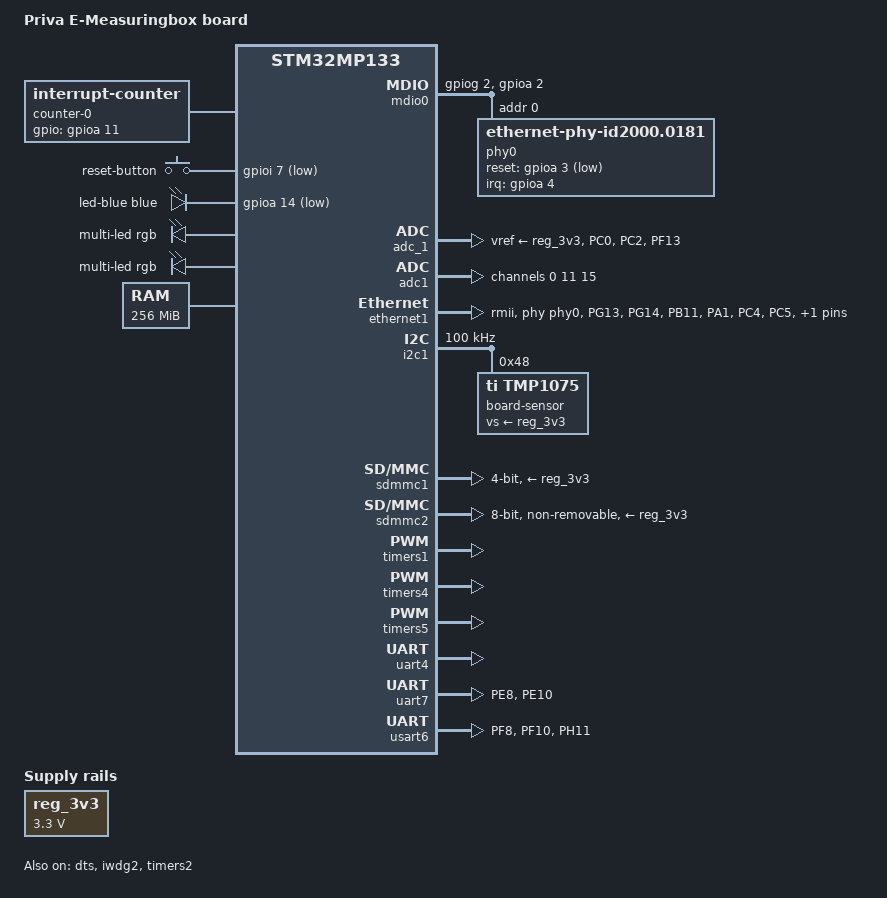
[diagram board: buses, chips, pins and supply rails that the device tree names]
// SPDX-License-Identifier: (GPL-2.0+ OR BSD-3-Clause)
/dts-v1/;

#include <dt-bindings/gpio/gpio.h>
#include <dt-bindings/input/input.h>
#include <dt-bindings/leds/common.h>
#include <dt-bindings/regulator/st,stm32mp13-regulator.h>
#include "stm32mp133.dtsi"
#include "stm32mp13xc.dtsi"
#include "stm32mp13-pinctrl.dtsi"

/ {
	model = "Priva E-Measuringbox board";
	compatible = "pri,prihmb", "st,stm32mp133";

	aliases {
		ethernet0 = &ethernet1;
		mdio-gpio0 = &mdio0;
		mmc0 = &sdmmc1;
		mmc1 = &sdmmc2;
		serial0 = &uart4;
		serial1 = &usart6;
		serial2 = &uart7;
	};

	chosen {
		stdout-path = "serial0:115200n8";
	};

	counter-0 {
		compatible = "interrupt-counter";
		gpios = <&gpioa 11 GPIO_ACTIVE_HIGH>;
	};

	gpio-keys {
		compatible = "gpio-keys";
		autorepeat;

		button-reset {
			label = "reset-button";
			linux,code = <BTN_1>;
			gpios = <&gpioi 7 GPIO_ACTIVE_LOW>;
		};
	};

	leds {
		compatible = "gpio-leds";

		led-blue {
			function = LED_FUNCTION_HEARTBEAT;
			color = <LED_COLOR_ID_BLUE>;
			gpios = <&gpioa 14 GPIO_ACTIVE_LOW>;
			linux,default-trigger = "heartbeat";
			default-state = "off";
		};
	};

	led-controller-0 {
		compatible = "pwm-leds-multicolor";

		multi-led {
			color = <LED_COLOR_ID_RGB>;
			function = LED_FUNCTION_STATUS;
			max-brightness = <255>;

			led-red {
				active-low;
				color = <LED_COLOR_ID_RED>;
				pwms = <&pwm2 2 1000000 1>;
			};

			led-green {
				active-low;
				color = <LED_COLOR_ID_GREEN>;
				pwms = <&pwm1 1 1000000 1>;
			};

			led-blue {
				active-low;
				color = <LED_COLOR_ID_BLUE>;
				pwms = <&pwm1 2 1000000 1>;
			};
		};
	};

	led-controller-1 {
		compatible = "pwm-leds-multicolor";

		multi-led {
			color = <LED_COLOR_ID_RGB>;
			function = LED_FUNCTION_STATUS;
			max-brightness = <255>;

			led-red {
				active-low;
				color = <LED_COLOR_ID_RED>;
				pwms = <&pwm1 0 1000000 1>;
			};

			led-green {
				active-low;
				color = <LED_COLOR_ID_GREEN>;
				pwms = <&pwm2 0 1000000 1>;
			};

			led-blue {
				active-low;
				color = <LED_COLOR_ID_BLUE>;
				pwms = <&pwm2 1 1000000 1>;
			};
		};
	};

	/* DP83TD510E PHYs have max MDC rate of 1.75MHz. Since we can't reduce
	 * stmmac MDC clock without reducing system bus rate, we need to use
	 * gpio based MDIO bus.
	 */
	mdio0: mdio {
		compatible = "virtual,mdio-gpio";
		#address-cells = <1>;
		#size-cells = <0>;
		gpios = <&gpiog 2 GPIO_ACTIVE_HIGH
			 &gpioa 2 GPIO_ACTIVE_HIGH>;

		/* TI DP83TD510E */
		phy0: ethernet-phy@0 {
			compatible = "ethernet-phy-id2000.0181";
			reg = <0>;
			interrupts-extended = <&gpioa 4 IRQ_TYPE_LEVEL_LOW>;
			reset-gpios = <&gpioa 3 GPIO_ACTIVE_LOW>;
			reset-assert-us = <10>;
			reset-deassert-us = <35>;
		};
	};

	memory@c0000000 {
		device_type = "memory";
		reg = <0xc0000000 0x10000000>;
	};

	reg_3v3: regulator-3v3 {
		compatible = "regulator-fixed";
		regulator-name = "3v3";
		regulator-min-microvolt = <3300000>;
		regulator-max-microvolt = <3300000>;
	};

	reserved-memory {
		#address-cells = <1>;
		#size-cells = <1>;
		ranges;

		optee@ce000000 {
			reg = <0xce000000 0x02000000>;
			no-map;
		};
	};
};

&adc_1 {
	pinctrl-names = "default";
	pinctrl-0 = <&adc_1_pins_a>;
	vdda-supply = <&reg_3v3>;
	vref-supply = <&reg_3v3>;
	status = "okay";
};

&adc1 {
	status = "okay";

	channel@0 { /* Fan current PC0*/
		reg = <0>;
		st,min-sample-time-ns = <10000>;  /* 10µs sampling time */
	};
	channel@11 { /* Fan voltage */
		reg = <11>;
		st,min-sample-time-ns = <10000>;  /* 10µs sampling time */
	};
	channel@15 { /* Supply voltage */
		reg = <15>;
		st,min-sample-time-ns = <10000>;  /* 10µs sampling time */
	};
};

&dts {
	status = "okay";
};

&ethernet1 {
	status = "okay";
	pinctrl-0 = <&ethernet1_rmii_pins_a>;
	pinctrl-1 = <&ethernet1_rmii_sleep_pins_a>;
	pinctrl-names = "default", "sleep";
	phy-mode = "rmii";
	phy-handle = <&phy0>;
};

&i2c1 {
	pinctrl-names = "default", "sleep";
	pinctrl-0 = <&i2c1_pins_a>;
	pinctrl-1 = <&i2c1_sleep_pins_a>;
	clock-frequency = <100000>;
	/delete-property/dmas;
	/delete-property/dma-names;
	status = "okay";

	board-sensor@48 {
		compatible = "ti,tmp1075";
		reg = <0x48>;
		vs-supply = <&reg_3v3>;
	};
};

&{i2c1_pins_a/pins} {
	pinmux = <STM32_PINMUX('D', 3, AF5)>, /* I2C1_SCL */
		 <STM32_PINMUX('B', 8, AF4)>; /* I2C1_SDA */
	bias-disable;
	drive-open-drain;
	slew-rate = <0>;
};

&{i2c1_sleep_pins_a/pins} {
	pinmux = <STM32_PINMUX('D', 3, ANALOG)>, /* I2C1_SCL */
		 <STM32_PINMUX('B', 8, ANALOG)>; /* I2C1_SDA */
};

&iwdg2 {
	timeout-sec = <32>;
	status = "okay";
};

/* SD card without Card-detect */
&sdmmc1 {
	pinctrl-names = "default", "opendrain", "sleep";
	pinctrl-0 = <&sdmmc1_b4_pins_a &sdmmc1_clk_pins_a>;
	pinctrl-1 = <&sdmmc1_b4_od_pins_a &sdmmc1_clk_pins_a>;
	pinctrl-2 = <&sdmmc1_b4_sleep_pins_a>;
	broken-cd;
	no-sdio;
	no-1-8-v;
	st,neg-edge;
	bus-width = <4>;
	vmmc-supply = <&reg_3v3>;
	status = "okay";
};

/* EMMC */
&sdmmc2 {
	pinctrl-names = "default", "opendrain", "sleep";
	pinctrl-0 = <&sdmmc2_b4_pins_a &sdmmc2_d47_pins_a &sdmmc2_clk_pins_a>;
	pinctrl-1 = <&sdmmc2_b4_od_pins_a &sdmmc2_d47_pins_a &sdmmc2_clk_pins_a>;
	pinctrl-2 = <&sdmmc2_b4_sleep_pins_a &sdmmc2_d47_sleep_pins_a>;
	non-removable;
	no-sd;
	no-sdio;
	no-1-8-v;
	st,neg-edge;
	mmc-ddr-3_3v;
	bus-width = <8>;
	vmmc-supply = <&reg_3v3>;
	status = "okay";
};

&timers1 {
	status = "okay";
	/delete-property/dmas;
	/delete-property/dma-names;

	pwm1: pwm {
		pinctrl-0 = <&pwm1_pins_a>;
		pinctrl-1 = <&pwm1_sleep_pins_a>;
		pinctrl-names = "default", "sleep";
		status = "okay";
	};
};

&timers4 {
	status = "okay";
	/delete-property/dmas;
	/delete-property/dma-names;

	pwm2: pwm {
		pinctrl-0 = <&pwm4_pins_a>;
		pinctrl-1 = <&pwm4_sleep_pins_a>;
		pinctrl-names = "default", "sleep";
		status = "okay";
	};
};

/* Fan PWM */
&timers5 {
	status = "okay";

	pwm3: pwm {
		pinctrl-0 = <&pwm5_pins_a>;
		pinctrl-1 = <&pwm5_sleep_pins_a>;
		pinctrl-names = "default", "sleep";
		status = "okay";
	};
};

&timers2 {
	status = "okay";

	timer@1 {
		status = "okay";
	};
};

&uart4 {
	pinctrl-names = "default", "sleep", "idle";
	pinctrl-0 = <&uart4_pins_a>;
	pinctrl-1 = <&uart4_sleep_pins_a>;
	pinctrl-2 = <&uart4_idle_pins_a>;
	/delete-property/dmas;
	/delete-property/dma-names;
	status = "okay";
};

&uart7 {
	pinctrl-names = "default", "sleep", "idle";
	pinctrl-0 = <&uart7_pins_a>;
	pinctrl-1 = <&uart7_sleep_pins_a>;
	pinctrl-2 = <&uart7_idle_pins_a>;
	/delete-property/dmas;
	/delete-property/dma-names;
	status = "okay";
};

&usart6 {
	pinctrl-names = "default", "sleep", "idle";
	pinctrl-0 = <&usart6_pins_a>;
	pinctrl-1 = <&usart6_sleep_pins_a>;
	pinctrl-2 = <&usart6_idle_pins_a>;
	linux,rs485-enabled-at-boot-time;
	/delete-property/dmas;
	/delete-property/dma-names;
	status = "okay";
};

&pinctrl {
	adc_1_pins_a: adc1-0 {
		pins {
			pinmux = <STM32_PINMUX('C', 0, ANALOG)>, /* ADC1 in0 */
				 <STM32_PINMUX('C', 2, ANALOG)>, /* ADC1 in15 */
				 <STM32_PINMUX('F', 13, ANALOG)>; /* ADC1 in11 */
		};
	};

	ethernet1_rmii_pins_a: rmii-0 {
		pins1 {
			pinmux = <STM32_PINMUX('G', 13, AF11)>, /* ETH1_RMII_TXD0 */
				 <STM32_PINMUX('G', 14, AF11)>, /* ETH1_RMII_TXD1 */
				 <STM32_PINMUX('B', 11, AF11)>, /* ETH1_RMII_TX_EN */
				 <STM32_PINMUX('A', 1, AF11)>;   /* ETH1_RMII_REF_CLK */
			bias-disable;
			drive-push-pull;
			slew-rate = <2>;
		};
		pins2 {
			pinmux = <STM32_PINMUX('C', 4, AF11)>,  /* ETH1_RMII_RXD0 */
				 <STM32_PINMUX('C', 5, AF11)>,  /* ETH1_RMII_RXD1 */
				 <STM32_PINMUX('A', 7, AF11)>;  /* ETH1_RMII_CRS_DV */
			bias-disable;
		};
	};

	ethernet1_rmii_sleep_pins_a: rmii-sleep-0 {
		pins1 {
			pinmux = <STM32_PINMUX('G', 13, ANALOG)>, /* ETH1_RMII_TXD0 */
				 <STM32_PINMUX('G', 14, ANALOG)>, /* ETH1_RMII_TXD1 */
				 <STM32_PINMUX('B', 11, ANALOG)>, /* ETH1_RMII_TX_EN */
				 <STM32_PINMUX('C', 4, ANALOG)>,  /* ETH1_RMII_RXD0 */
				 <STM32_PINMUX('C', 5, ANALOG)>,  /* ETH1_RMII_RXD1 */
				 <STM32_PINMUX('A', 1, ANALOG)>,  /* ETH1_RMII_REF_CLK */
				 <STM32_PINMUX('A', 7, ANALOG)>;  /* ETH1_RMII_CRS_DV */
		};
	};

	pwm1_pins_a: pwm1-0 {
		pins {
			pinmux = <STM32_PINMUX('E', 9, AF1)>, /* TIM1_CH1 */
				 <STM32_PINMUX('E', 11, AF1)>, /* TIM1_CH2 */
				 <STM32_PINMUX('E', 13, AF1)>; /* TIM1_CH3 */
			bias-pull-down;
			drive-push-pull;
			slew-rate = <0>;
		};
	};

	pwm1_sleep_pins_a: pwm1-sleep-0 {
		pins {
			pinmux = <STM32_PINMUX('E', 9, ANALOG)>, /* TIM1_CH1 */
				 <STM32_PINMUX('E', 11, ANALOG)>, /* TIM1_CH2 */
				 <STM32_PINMUX('E', 13, ANALOG)>; /* TIM1_CH3 */
		};
	};

	pwm4_pins_a: pwm4-0 {
		pins {
			pinmux = <STM32_PINMUX('D', 12, AF2)>, /* TIM4_CH1 */
				 <STM32_PINMUX('B', 7, AF2)>, /* TIM4_CH2 */
				 <STM32_PINMUX('D', 14, AF2)>; /* TIM4_CH3 */
			bias-pull-down;
			drive-push-pull;
			slew-rate = <0>;
		};
	};

	pwm4_sleep_pins_a: pwm4-sleep-0 {
		pins {
			pinmux = <STM32_PINMUX('D', 12, ANALOG)>, /* TIM4_CH1 */
				 <STM32_PINMUX('B', 7, ANALOG)>, /* TIM4_CH2 */
				 <STM32_PINMUX('D', 14, ANALOG)>; /* TIM4_CH3 */
		};
	};
	pwm5_pins_a: pwm5-0 {
		pins {
			pinmux = <STM32_PINMUX('A', 0, AF2)>; /* TIM5_CH1 */
		};
	};

	pwm5_sleep_pins_a: pwm5-sleep-0 {
		pins {
			pinmux = <STM32_PINMUX('A', 0, ANALOG)>; /* TIM5_CH1 */
		};
	};

	uart7_pins_a: uart7-0 {
		pins1 {
			pinmux = <STM32_PINMUX('E', 8, AF7)>; /* UART_TX */
			bias-disable;
			drive-push-pull;
			slew-rate = <0>;
		};
		pins2 {
			pinmux = <STM32_PINMUX('E', 10, AF7)>; /* UART7_RX */
			bias-pull-up;
		};
	};

	uart7_idle_pins_a: uart7-idle-0 {
		pins1 {
			pinmux = <STM32_PINMUX('E', 8, ANALOG)>; /* UART7_TX */
		};
		pins2 {
			pinmux = <STM32_PINMUX('E', 10, AF7)>; /* UART7_RX */
			bias-pull-up;
		};
	};

	uart7_sleep_pins_a: uart7-sleep-0 {
		pins {
			pinmux = <STM32_PINMUX('E', 8, ANALOG)>, /* UART7_TX */
				 <STM32_PINMUX('E', 10, ANALOG)>; /* UART7_RX */
		};
	};

	usart6_pins_a: usart6-0 {
		pins1 {
			pinmux = <STM32_PINMUX('F', 8, AF7)>, /* USART6_TX */
				 <STM32_PINMUX('F', 10, AF7)>; /* USART6_DE */
			bias-disable;
			drive-push-pull;
			slew-rate = <0>;
		};
		pins2 {
			pinmux = <STM32_PINMUX('H', 11, AF7)>; /* USART6_RX */
			bias-disable;
		};
	};

	usart6_idle_pins_a: usart6-idle-0 {
		pins1 {
			pinmux = <STM32_PINMUX('F', 8, ANALOG)>; /* USART6_TX */
		};
		pins2 {
			pinmux = <STM32_PINMUX('F', 10, AF7)>; /* USART6_DE */
			bias-disable;
			drive-push-pull;
			slew-rate = <0>;
		};
		pins3 {
			pinmux = <STM32_PINMUX('H', 11, AF7)>; /* USART6_RX */
			bias-disable;
		};
	};

	usart6_sleep_pins_a: usart6-sleep-0 {
		pins {
			pinmux = <STM32_PINMUX('F', 8, ANALOG)>, /* USART6_TX */
				 <STM32_PINMUX('F', 10, ANALOG)>, /* USART6_DE */
				 <STM32_PINMUX('H', 11, ANALOG)>; /* USART6_RX */
		};
	};
};
